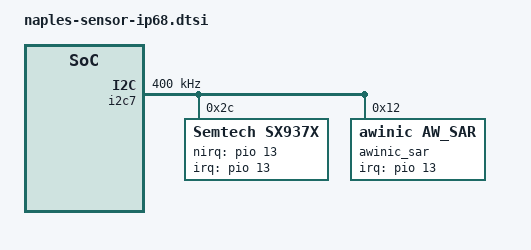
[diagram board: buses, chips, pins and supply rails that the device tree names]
/*
 * Copyright (c) 2019 MediaTek Inc.
 *
 * This program is free software; you can redistribute it and/or modify
 * it under the terms of the GNU General Public License version 2 as
 * published by the Free Software Foundation.
 *
 * This program is distributed in the hope that it will be useful,
 * but WITHOUT ANY WARRANTY; without even the implied warranty of
 * MERCHANTABILITY or FITNESS FOR A PARTICULAR PURPOSE.  See the
 * GNU General Public License for more details.
 */

&pio {
	sar_int_default: sar_int_default {
		pins_cmd_dat {
			pinmux = <PINMUX_GPIO13__FUNC_GPIO13>;
			input-enable;
			drive-strength = <2>;
			bias-pull-up;
		};
	};

	sar_int_sleep: sar_int_sleep {
		pins_cmd_dat {
			pinmux = <PINMUX_GPIO13__FUNC_GPIO13>;
			input-enable;
			drive-strength = <2>;
			bias-pull-up;
		};
	};
};


&i2c7 {
	status = "okay";
	clock-frequency = <400000>;
	sx937x:sx937x@2c {
		compatible = "Semtech,sx937x";
		reg = <0x2c>;
		Semtech,power-supply-type = <2>;
		pinctrl-names = "default","sleep";
		pinctrl-0 = <&sar_int_default>;
		pinctrl-1 = <&sar_int_sleep>;
		interrupt-parent = <&pio>;
		interrupts = <13 0x02>;
		interrupt-names = "sx937x_irq";
		Semtech,nirq-gpio = <&pio 13 0x02>;
		//cap_vdd-supply = <&mt6377_vio18>;
		//Semtech,eldo-gpio = <&pio 58 0x00>;
                esd-reinit-on = <1>;
		/*use PH4/5/6 as the reference sensor
		set it to 0xff if the ref-phases-x is not used*/
		Semtech,ref-phases-a = <5>;
		Semtech,ref-phases-b = <6>;
		Semtech,ref-phases-c = <0xff>;
		Semtech,button-flag = <0x1f>;
		Semtech,reg-num = <59>;
		Semtech,reg-init = <
			0x8024 0x00007F00
			0x4004 0x00000074
			0x4008 0x00000008
			0x8020 0x00000032
			0x8028 0x00000886
			0x8034 0x00000886
			0x8040 0x00000886
			0x804C 0x00000886
			0x8058 0x00000486
			0x8064 0x00000886
			0x8070 0x00000486
			0x807C 0x0000085E
			0x8030 0x00925924
			0x803C 0x00B24924
			0x8048 0x00FFF9FF
			0x8054 0x00924925
			0x8060 0x0092C924
			0x806C 0x00924964
			0x8078 0x0092492C
			0x8084 0x00FFF9FF
			0x8098 0x00007555
			0x80B8 0x00003535
			0x80D8 0x00000000
			0x80F8 0x00006144
			0x8118 0x00004C4C
			0x8138 0x00000000
			0x8158 0x00000000
			0x8178 0x00000000
			0x80A0 0x1F1F0001
			0x80C0 0x20200001
			0x80E0 0x00000000
			0x8100 0x00000000
			0x8120 0x2D2D0002
			0x8188 0x08000015
			0x818C 0x08000016
			0x8090 0x70905000
			0x80B0 0x70905000
			0x80D0 0x70905000
			0x80F0 0x70905000
			0x8110 0x70905000
			0x8130 0x00005000
			0x8150 0x00005000
			0x8170 0x00005000
			0x8088 0x00300000
			0x80A8 0x00300000
			0x80C8 0x00300000
			0x80E8 0x00300000
			0x8108 0x00300000
			0x8128 0x06300000
			0x8148 0x06300000
			0x8168 0x06300000
			0x808C 0xA0200031
			0x80AC 0xA0200031
			0x80CC 0xA0200031
			0x80EC 0xA0200031
			0x810C 0xA0200031
			0x812C 0xB0300031
			0x814C 0xA0200031
			0x816C 0xA0200031
		>;

		status = "okay";
	};
	awinic_sar:awinic_sar@12 {
		/* common node */
		compatible = "awinic,aw_sar";
		reg = < 0x12 >;
		sar-num = < 0 >;
		pinctrl-names = "default","sleep";
		pinctrl-0 = <&sar_int_default>;
		pinctrl-1 = <&sar_int_sleep>;
		interrupt-parent = <&pio>;
		interrupts = <13 0x02>;
		interrupt-names = "awinic_irq";
		irq-gpio = <&pio 13 0x02>;
		//vcc0-supply = <&mt6363_vio18>;
		channel_use_flag = <0x1f>;
		monitor_esd_flag = <1>;
		aw_sar,use_plug_cail;
		aw_sar,update_fw;
		aw_sar,using_pm_ops;
		/* private node belongs to aw963xx */
		start-mode = < 1 >; // 0: start in rom  1: start in ram
		irq-mux = < 2 >; // set csx as irq pin. config this field when connect to aw96308/aw96310
		platform_state = "ip68";
		status = "okay";
	};
};
